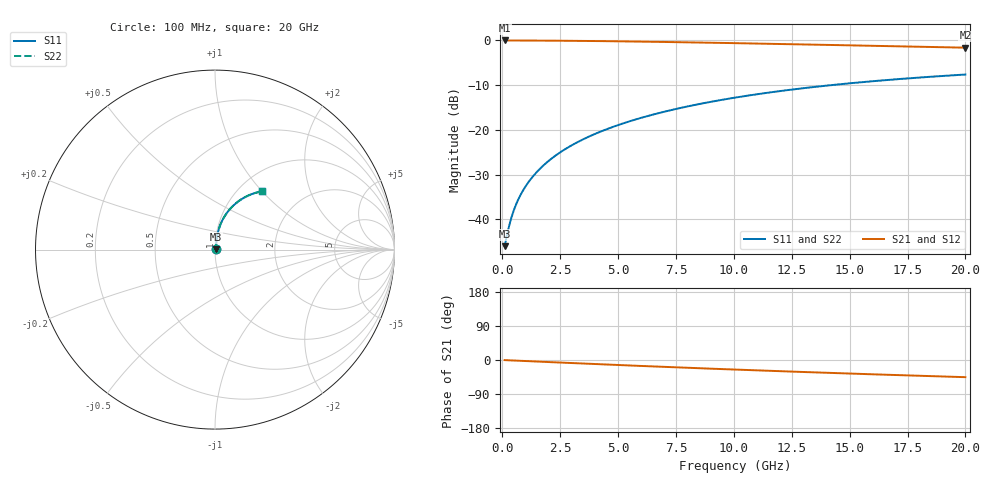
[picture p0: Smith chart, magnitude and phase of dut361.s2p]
! Touchstone file exported from HFSS 2024.1.0
!  File:  C:/UserFiles/LocalFiles/RDL_TSV_Batchsim/temp_RDL_bottom_361_1779612831.aedt
!  Generated:  04:56:59 PM May 24, 2026
!  Design:  RDL_bottom
!  Project:  temp_RDL_bottom_361_1779612831
!  Setup:  Setup1
!  Solution:  Sweep
! Variables:
!  dtsv = 10.80580581um
!  hbump = 3um
!  htsv = 86.85um
!  ldown = 635.23um
!  lrdl = 100um
!  p = 40
!  p1 = 47.5um
!  rhole = 1um
!  t = 450um
!  tdown = 2.73um
!  trdl = 3.915915916um
!  wdown = 19.6um
!  wrdl = 20um
# GHz S MA R 50.000000
! Terminal data exported
! Port[1] = RDL1_T1
! Port[2] = RDL1_T2
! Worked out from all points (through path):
!   200 points, 100 MHz to 20 GHz, reference 50 ohm
!   highest |S21| = -0.04 dB at 100 MHz (marker M1); lowest = -1.6 dB at 20 GHz (marker M2)
!   group delay of S21, straight-line fit = 6.28 ps
!   lowest |S11| = -46.0 dB at 100 MHz (marker M3), VSWR 1.01, Z = 50.4 + j0.246 ohm
!   |S11| at or under -10 dB: start of sweep to 14.23 GHz
!   |S22| runs from -46.0 to -7.6 dB; largest |S21 - S12| = 2e-15
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0.1  0.005038 28.9  0.9956 -0.3  0.9956 -0.3  0.005038 28.9
! Gamma 0 0 0 0
! Port Impedance 50 0 50 0
0.3  0.008579 56.6  0.9952 -0.8  0.9952 -0.8  0.008579 56.6
0.4  0.01064 62.5  0.995 -1.1  0.995 -1.1  0.01064 62.5
0.5  0.01273 66.3  0.9948 -1.4  0.9948 -1.4  0.01273 66.3
0.6  0.01483 69.1  0.9946 -1.7  0.9946 -1.7  0.01483 69.1
0.8  0.01905 72.8  0.9941 -2.2  0.9941 -2.2  0.01905 72.8
1  0.02331 75.3  0.9937 -2.7  0.9937 -2.7  0.02331 75.3
1.2  0.0276 76.9  0.9932 -3.3  0.9932 -3.3  0.0276 77.0
1.4  0.03192 78.1  0.9927 -3.8  0.9927 -3.8  0.03192 78.2
1.7  0.03846 79.4  0.9918 -4.6  0.9918 -4.6  0.03846 79.4
2.2  0.04947 80.5  0.9901 -5.9  0.9901 -5.9  0.04948 80.5
2.8  0.06286 81.0  0.9875 -7.5  0.9875 -7.5  0.06287 81.0
3.5  0.07868 80.9  0.9839 -9.4  0.9839 -9.4  0.07869 80.9
4.2  0.09467 80.4  0.9797 -11.2  0.9797 -11.2  0.09469 80.5
5  0.1131 79.6  0.9742 -13.2  0.9742 -13.2  0.1132 79.6
5.9  0.134 78.3  0.9672 -15.5  0.9672 -15.5  0.1341 78.4
6.8  0.155 76.9  0.9597 -17.7  0.9597 -17.7  0.155 76.9
8.4  0.1919 74.0  0.9451 -21.5  0.9451 -21.5  0.192 74.1
10.1  0.2303 70.7  0.9286 -25.4  0.9286 -25.4  0.2304 70.7
13.4  0.3 64.0  0.8948 -32.5  0.8948 -32.5  0.3002 64.0
16.7  0.3617 57.5  0.8606 -39.1  0.8606 -39.1  0.362 57.5
20  0.4149 51.3  0.8271 -45.3  0.8271 -45.3  0.4152 51.4
